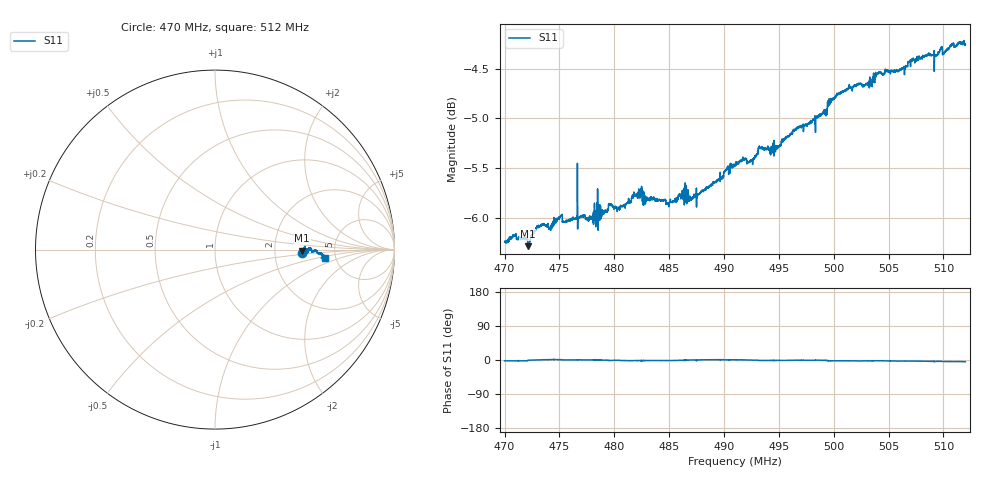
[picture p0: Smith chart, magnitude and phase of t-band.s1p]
! Calibrated averaged scanner-service zoom
# Hz S RI R 50
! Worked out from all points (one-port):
!   4001 points, 470 MHz to 512 MHz, reference 50 ohm
!   lowest |S11| = -6.3 dB at 472.1 MHz (marker M1), VSWR 2.88, Z = 144 - j2.15 ohm
!   |S11| at or under -10 dB: nowhere
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4.7e8  0.4872 -0.0187
4.7189e8  0.4894 -0.0182
4.721105e8  0.4851 -0.00571
4.72331e8  0.4887 -0.00282
4.735175e8  0.4974 0.00627
4.74536e8  0.4973 0.01
4.7525e8  0.5033 0.00719
4.78064e8  0.501 0.00127
4.7924e8  0.5053 -0.00294
4.796705e8  0.5085 -0.0106
4.805e8  0.5063 -0.00744
4.81382e8  0.5106 -0.0156
4.82327e8  0.5154 -0.0135
4.84868e8  0.5098 -0.0131
4.8575e8  0.512 -0.0107
4.880705e8  0.5167 0.00501
4.91e8  0.5328 0.00651
4.924805e8  0.5358 -0.00165
4.933205e8  0.543 -0.0111
4.94339e8  0.5418 -0.0131
4.9625e8  0.5529 -0.00843
4.985915e8  0.5633 -0.00455
4.9919e8  0.5669 -0.00843
4.99631e8  0.5728 -0.0201
5.015e8  0.5823 -0.0218
5.038205e8  0.5927 -0.0224
5.0675e8  0.5976 -0.0297
5.12e8  0.6109 -0.048
